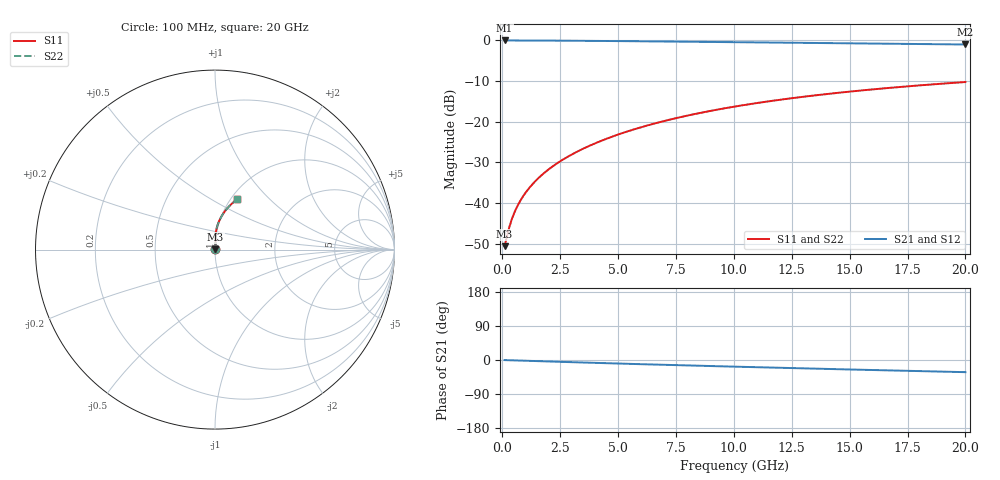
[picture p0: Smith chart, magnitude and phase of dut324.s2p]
! Touchstone file exported from HFSS 2024.1.0
!  File:  C:/UserFiles/LocalFiles/RDL_TSV_Batchsim/temp_RDL_top_324_1779607153.aedt
!  Generated:  03:21:54 PM May 24, 2026
!  Design:  RDL_top
!  Project:  temp_RDL_top_324_1779607153
!  Setup:  Setup1
!  Solution:  Sweep
! Variables:
!  dtsv = 10.80580581um
!  hbump = 3um
!  htsv = 72.81um
!  ldown = 100um
!  lrdl = 417.19um
!  p = 40
!  p1 = 58.47um
!  rhole = 1um
!  t = 450um
!  tdown = 3.915915916um
!  trdl = 2.38um
!  wdown = 15.38538539um
!  wrdl = 28um
# GHz S MA R 50.000000
! Terminal data exported
! Port[1] = Box2_T1
! Port[2] = Box2_T2
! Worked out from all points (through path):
!   200 points, 100 MHz to 20 GHz, reference 50 ohm
!   highest |S21| = -0.02 dB at 100 MHz (marker M1); lowest = -1.0 dB at 20 GHz (marker M2)
!   group delay of S21, straight-line fit = 4.4 ps
!   lowest |S11| = -50.6 dB at 100 MHz (marker M3), VSWR 1.01, Z = 50.3 + j0.144 ohm
!   |S11| at or under -10 dB: start of sweep to end of sweep
!   |S22| runs from -50.6 to -10.2 dB; largest |S21 - S12| = 4.1e-15
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0.1  0.002954 29.0  0.9974 -0.2  0.9974 -0.2  0.002954 29.0
! Gamma 0 0 0 0
! Port Impedance 50 0 50 0
0.3  0.005018 56.5  0.9971 -0.6  0.9971 -0.6  0.005018 56.5
0.4  0.006196 62.3  0.9969 -0.8  0.9969 -0.8  0.006195 62.3
0.5  0.00738 66.3  0.9968 -1.0  0.9968 -1.0  0.00738 66.3
0.6  0.008565 69.3  0.9966 -1.2  0.9966 -1.2  0.008565 69.3
0.8  0.01094 73.6  0.9962 -1.6  0.9962 -1.6  0.01094 73.6
1.1  0.01456 77.8  0.9956 -2.2  0.9956 -2.2  0.01456 77.8
1.3  0.01703 79.8  0.9952 -2.5  0.9952 -2.5  0.01703 79.8
1.6  0.02079 82.1  0.9945 -3.1  0.9945 -3.1  0.02079 82.1
2.1  0.02727 84.6  0.9931 -4.1  0.9931 -4.1  0.02727 84.7
2.7  0.03537 86.5  0.9909 -5.2  0.9909 -5.2  0.03537 86.6
3.5  0.04671 87.9  0.9875 -6.7  0.9875 -6.7  0.04672 87.9
4.2  0.05713 88.4  0.9841 -7.9  0.9841 -7.9  0.05714 88.5
5  0.06953 88.5  0.9799 -9.3  0.9799 -9.3  0.06954 88.5
5.9  0.084 88.0  0.9748 -10.9  0.9748 -10.9  0.08401 88.0
6.8  0.09886 87.2  0.9696 -12.4  0.9696 -12.4  0.09888 87.2
8.4  0.1258 85.1  0.96 -15.0  0.96 -15.0  0.1258 85.1
10.1  0.1546 82.4  0.9498 -17.7  0.9498 -17.7  0.1546 82.4
11.7  0.1814 79.7  0.9402 -20.1  0.9402 -20.1  0.1814 79.7
13.4  0.2091 76.8  0.93 -22.7  0.93 -22.7  0.2092 76.8
16.7  0.2604 71.2  0.91 -27.5  0.91 -27.5  0.2604 71.2
20  0.3075 66.0  0.8897 -32.1  0.8897 -32.1  0.3076 66.0
